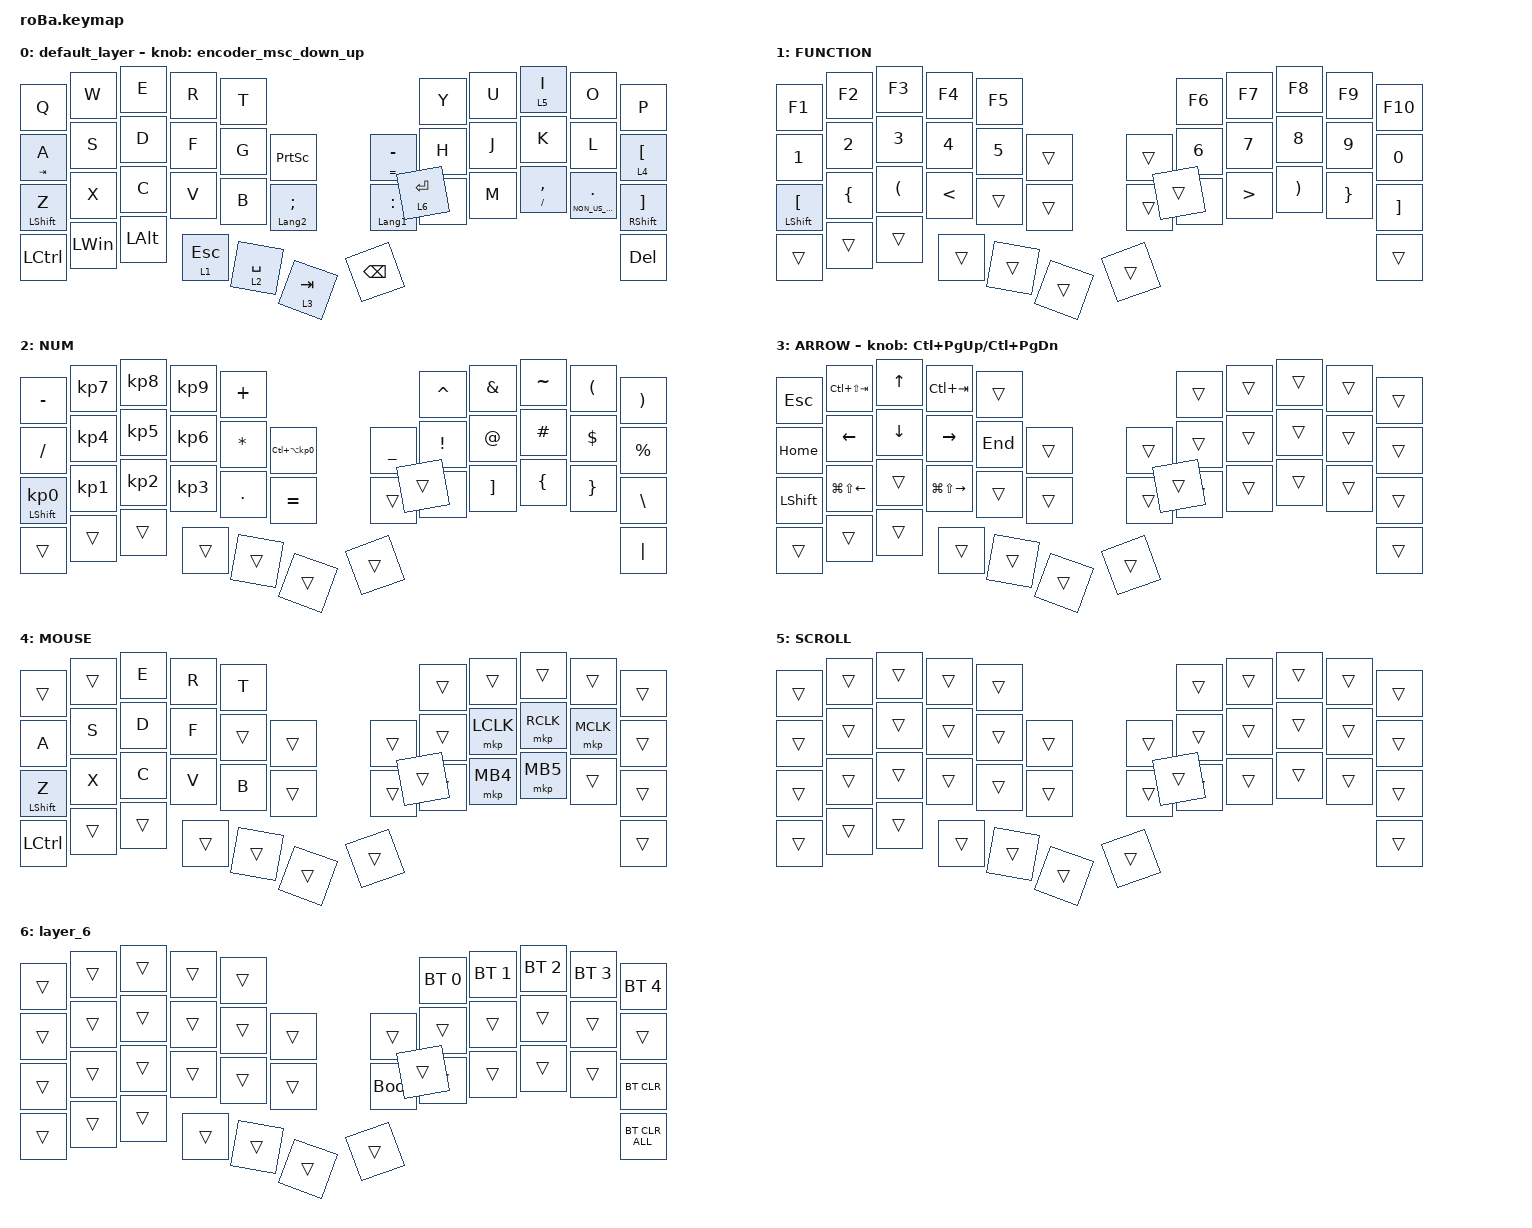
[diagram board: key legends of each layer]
#include <behaviors.dtsi>
#include <dt-bindings/zmk/bt.h>
#include <dt-bindings/zmk/keys.h>
#include <dt-bindings/zmk/pointing.h>

#define ZMK_POINTING_DEFAULT_SCRL_VAL 80

&mt {
    flavor = "balanced";
    quick-tap-ms = <0>;
};

&trackball {
    automouse-layer = <4>;
    scroll-layers = <5>;

    // arrows {
    //     layers = <3>;
    //     bindings =
    //         <&kp RIGHT_ARROW>,
    //         <&kp LEFT_ARROW>,
    //         <&kp UP_ARROW>,
    //         <&kp DOWN_ARROW>;
    //     tick = <10>;
    //     wait-ms = <5>;
    //     tap-ms = <5>;
    // };
};

/ {
    combos {
        compatible = "zmk,combos";

        tab {
            bindings = <&kp TAB>;
            key-positions = <11 12>;
        };

        shift_tab {
            bindings = <&kp LS(TAB)>;
            key-positions = <12 13>;
        };

        muhennkann {
            bindings = <&to_layer_0 INT_MUHENKAN>;
            key-positions = <11 10>;
        };

        double_quotation {
            bindings = <&kp DOUBLE_QUOTES>;
            key-positions = <20 21>;
        };

        eq {
            bindings = <&kp EQUAL>;
            key-positions = <24 25>;
        };
    };

    macros {
        to_layer_0: to_layer_0 {
            compatible = "zmk,behavior-macro-one-param";
            #binding-cells = <1>;
            bindings = <&to 0 &macro_param_1to1 &kp MACRO_PLACEHOLDER>;
            label = "TO_LAYER_0";
        };
    };

    behaviors {
        lt_to_layer_0: lt_to_layer_0 {
            compatible = "zmk,behavior-hold-tap";
            label = "LAYER_TAP_TO_0";
            bindings = <&mo>, <&to_layer_0>;

            #binding-cells = <2>;
            tapping-term-ms = <200>;
        };

        encoder_msc_down_up: encoder_msc_down_up {
            compatible = "zmk,behavior-sensor-rotate";
            label = "ENCODER_MSC_DOWN_UP";
            #sensor-binding-cells = <0>;
            bindings = <&msc SCRL_UP>, <&msc SCRL_DOWN>;

            tap-ms = <20>;
        };
    };

    keymap {
        compatible = "zmk,keymap";

        default_layer {
            bindings = <
&kp Q             &kp W         &kp E         &kp R                    &kp T                                                            &kp Y                   &kp U  &lt 5 I          &kp O                     &kp P
&mt TAB A         &kp S         &kp D         &kp F                    &kp G        &kp PRINTSCREEN               &mt EQUAL MINUS       &kp H                   &kp J  &kp K            &kp L                     &lt_to_layer_0 4 LBKT
&mt LEFT_SHIFT Z  &kp X         &kp C         &kp V                    &kp B        &mt LANGUAGE_2 SEMICOLON      &mt LANGUAGE_1 COLON  &kp N                   &kp M  &mt SLASH COMMA  &mt NON_US_BACKSLASH DOT  &mt RIGHT_SHIFT RIGHT_BRACKET
&kp LCTRL         &kp LEFT_WIN  &kp LEFT_ALT  &lt_to_layer_0 1 ESCAPE  &lt 2 SPACE  &lt_to_layer_0 3 TAB          &kp BACKSPACE         &lt_to_layer_0 6 ENTER                                                    &kp DELETE
            >;

            // sensor-bindings = <&inc_dec_kp PG_UP PAGE_DOWN>;
            // ロータリーエンコーダ改造3

            sensor-bindings = <&encoder_msc_down_up>;
        };

        FUNCTION {
            bindings = <
&kp F1                       &kp F2          &kp F3                &kp F4         &kp F5                            &kp F6        &kp F7            &kp F8                 &kp F9           &kp F10
&kp NUMBER_1                 &kp NUMBER_2    &kp NUMBER_3          &kp NUMBER_4   &kp NUMBER_5  &trans      &trans  &kp NUMBER_6  &kp NUMBER_7      &kp NUMBER_8           &kp NUMBER_9     &kp NUMBER_0
&mt LEFT_SHIFT LEFT_BRACKET  &kp LEFT_BRACE  &kp LEFT_PARENTHESIS  &kp LESS_THAN  &trans        &trans      &trans  &kp COMMA     &kp GREATER_THAN  &kp RIGHT_PARENTHESIS  &kp RIGHT_BRACE  &kp RIGHT_BRACKET
&trans                       &trans          &trans                &trans         &trans        &trans      &trans  &trans                                                                  &trans
            >;
        };

        NUM {
            bindings = <
&kp MINUS                   &kp KP_NUMBER_7  &kp KP_NUMBER_8  &kp KP_NUMBER_9  &kp PLUS                                                   &kp CARET         &kp AMPERSAND      &kp TILDE       &kp LEFT_PARENTHESIS  &kp RIGHT_PARENTHESIS
&kp SLASH                   &kp KP_NUMBER_4  &kp KP_NUMBER_5  &kp KP_NUMBER_6  &kp ASTERISK  &kp LC(LA(KP_NUMBER_0))      &kp UNDERSCORE  &kp EXCLAMATION   &kp AT_SIGN        &kp HASH        &kp DOLLAR            &kp PERCENT
&mt LEFT_SHIFT KP_NUMBER_0  &kp KP_NUMBER_1  &kp KP_NUMBER_2  &kp KP_NUMBER_3  &kp PERIOD    &kp EQUAL                    &trans          &kp LEFT_BRACKET  &kp RIGHT_BRACKET  &kp LEFT_BRACE  &kp RIGHT_BRACE       &kp BACKSLASH
&trans                      &trans           &trans           &trans           &trans        &trans                       &trans          &trans                                                                     &kp PIPE
            >;
        };

        ARROW {
            bindings = <
&kp ESCAPE      &kp LC(LS(TAB))         &kp UP_ARROW    &kp LC(TAB)              &trans                       &trans  &trans  &trans  &trans  &trans
&kp HOME        &kp LEFT_ARROW          &kp DOWN_ARROW  &kp RIGHT_ARROW          &kp END  &trans      &trans  &trans  &trans  &trans  &trans  &trans
&kp LEFT_SHIFT  &kp LG(LS(LEFT_ARROW))  &trans          &kp LG(LS(RIGHT_ARROW))  &trans   &trans      &trans  &trans  &trans  &trans  &trans  &trans
&trans          &trans                  &trans          &trans                   &trans   &trans      &trans  &trans                          &trans
            >;

            sensor-bindings = <&inc_dec_kp LC(PAGE_UP) LC(PAGE_DOWN)>;
        };

        MOUSE {
            bindings = <
&trans            &trans  &kp E   &kp R   &kp T                       &trans  &trans     &trans     &trans     &trans
&kp A             &kp S   &kp D   &kp F   &trans  &trans      &trans  &trans  &mkp LCLK  &mkp RCLK  &mkp MCLK  &trans
&mt LEFT_SHIFT Z  &kp X   &kp C   &kp V   &kp B   &trans      &trans  &trans  &mkp MB4   &mkp MB5   &trans     &trans
&kp LCTRL         &trans  &trans  &trans  &trans  &trans      &trans  &trans                                   &trans
            >;
        };

        SCROLL {
            bindings = <
&trans  &trans  &trans  &trans  &trans                      &trans  &trans  &trans  &trans  &trans
&trans  &trans  &trans  &trans  &trans  &trans      &trans  &trans  &trans  &trans  &trans  &trans
&trans  &trans  &trans  &trans  &trans  &trans      &trans  &trans  &trans  &trans  &trans  &trans
&trans  &trans  &trans  &trans  &trans  &trans      &trans  &trans                          &trans
            >;
        };

        layer_6 {
            bindings = <
&trans  &trans  &trans  &trans  &trans                           &bt BT_SEL 0  &bt BT_SEL 1  &bt BT_SEL 2  &bt BT_SEL 3  &bt BT_SEL 4
&trans  &trans  &trans  &trans  &trans  &trans      &trans       &trans        &trans        &trans        &trans        &trans
&trans  &trans  &trans  &trans  &trans  &trans      &bootloader  &trans        &trans        &trans        &trans        &bt BT_CLR
&trans  &trans  &trans  &trans  &trans  &trans      &trans       &trans                                                  &bt BT_CLR_ALL
            >;
        };
    };
};
